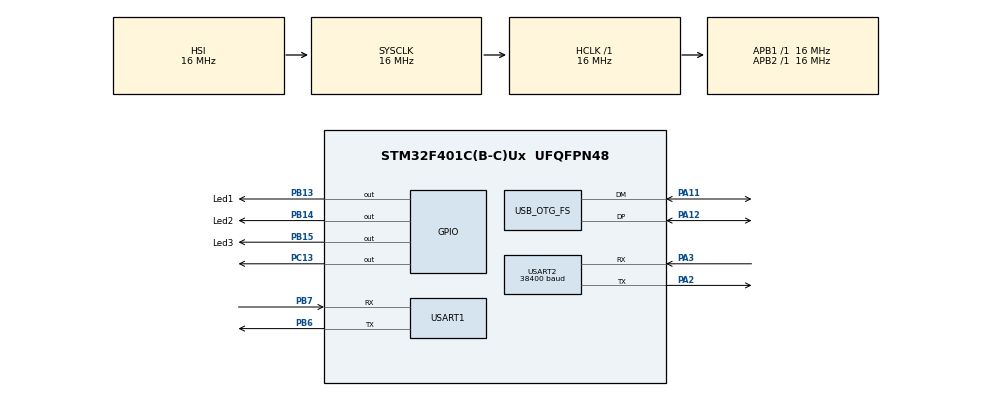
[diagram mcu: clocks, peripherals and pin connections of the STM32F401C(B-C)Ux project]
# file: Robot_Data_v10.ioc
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Mcu.Family=STM32F4
Mcu.Name=STM32F401C(B-C)Ux
Mcu.Package=UFQFPN48
NVIC.OTG_FS_IRQn=true\:0\:0\:false\:false\:true\:false\:true\:true
NVIC.PriorityGroup=NVIC_PRIORITYGROUP_4
NVIC.USART1_IRQn=true\:0\:0\:false\:false\:true\:true\:true\:true
NVIC.USART2_IRQn=true\:0\:0\:false\:false\:true\:true\:true\:true
PA11.Mode=Device_Only
PA11.Signal=USB_OTG_FS_DM
PA12.Mode=Device_Only
PA12.Signal=USB_OTG_FS_DP
PA2.Mode=Asynchronous
PA2.Signal=USART2_TX
PA3.Mode=Asynchronous
PA3.Signal=USART2_RX
PB13.GPIO_Label=Led1
PB13.Signal=GPIO_Output
PB14.GPIO_Label=Led2
PB14.Signal=GPIO_Output
PB15.GPIO_Label=Led3
PB15.Signal=GPIO_Output
PB6.Mode=Asynchronous
PB6.Signal=USART1_TX
PB7.Mode=Asynchronous
PB7.Signal=USART1_RX
PC13-ANTI_TAMP.Signal=GPIO_Output
PH0\ -\ OSC_IN.Mode=HSE-External-Oscillator
PH0\ -\ OSC_IN.Signal=RCC_OSC_IN
PH1\ -\ OSC_OUT.Mode=HSE-External-Oscillator
PH1\ -\ OSC_OUT.Signal=RCC_OSC_OUT
ProjectManager.HeapSize=0x200
ProjectManager.StackSize=0x400
ProjectManager.TargetToolchain=STM32CubeIDE
RCC.48MHZClocksFreq_Value=48000000
RCC.AHBFreq_Value=16000000
RCC.APB1Freq_Value=16000000
RCC.APB2Freq_Value=16000000
RCC.CortexFreq_Value=16000000
RCC.HSE_VALUE=25000000
RCC.HSI_VALUE=16000000
RCC.LSE_VALUE=32768
RCC.PLLM=15
RCC.PLLN=144
RCC.PLLQ=5
RCC.SYSCLKFreq_VALUE=16000000
RCC.VCOOutputFreq_Value=240000000
USART1.VirtualMode=VM_ASYNC
USART2.BaudRate=38400
USART2.VirtualMode=VM_ASYNC
USB_DEVICE.CLASS_NAME_FS=CDC
USB_DEVICE.VirtualMode=Cdc
USB_DEVICE.VirtualModeFS=Cdc_FS
USB_OTG_FS.VirtualMode=Device_Only
VP_USB_DEVICE_VS_USB_DEVICE_CDC_FS.Mode=CDC_FS
board=custom

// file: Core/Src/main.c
/* USER CODE BEGIN Header */
/**
  ******************************************************************************
  * @file           : main.c
  * @brief          : Main program body
  ******************************************************************************
  * @attention
  *
  * Copyright (c) 2026 STMicroelectronics.
  * All rights reserved.
  *
  * This software is licensed under terms that can be found in the LICENSE file
  * in the root directory of this software component.
  * If no LICENSE file comes with this software, it is provided AS-IS.
  *
  ******************************************************************************
  */
/* USER CODE END Header */
#include "main.h"
#include "usb_device.h"

/* USER CODE BEGIN Includes */
#include "usbd_cdc_if.h"
#include "MD49.h"
#include <stdio.h>
#include <string.h>
/* USER CODE END Includes */

/* USER CODE BEGIN PTD */
typedef struct {
    float acc_x, acc_y, acc_z;
    float gyr_x, gyr_y, gyr_z;
    float roll, pitch, yaw;
} MTi1_Data_t;
/* USER CODE END PTD */

UART_HandleTypeDef huart1;
UART_HandleTypeDef huart2;

/* USER CODE BEGIN PV */
extern UART_HandleTypeDef huart2;
extern USBD_HandleTypeDef hUsbDeviceFS;
char msg_usb[300];

char Buffer_rx[64];
uint8_t string_ready = 0;
uint8_t vel_r=128, vel_l=128;

int cnt=0;

uint32_t last_comm_time = 0;
uint32_t test=0;
const uint32_t COMM_TIMEOUT_MS = 2000;

#define RX_RING_SIZE 512
volatile uint8_t rx_ring[RX_RING_SIZE];
volatile uint16_t rx_head = 0;
volatile uint16_t rx_tail = 0;
uint8_t rx_byte;

MTi1_Data_t imu_data;
int test_flag = 0;
uint32_t last_led_tick = 0;

/* USER CODE END PV */

void SystemClock_Config(void);
static void MX_GPIO_Init(void);
static void MX_USART2_UART_Init(void);
static void MX_USART1_UART_Init(void);
/* USER CODE BEGIN PFP */
float bytes_to_float_be(const uint8_t *buffer);
uint8_t xsens_validate_checksum(const uint8_t *msg, uint16_t length);
uint8_t calculate_xbus_checksum(const uint8_t *buffer, uint16_t length);
void parse_mtdata2(const uint8_t *packet, uint16_t packet_len);
void configure_mti1_outputs(void);
void process_rx_ring(void);
/* USER CODE END PFP */

/* USER CODE BEGIN 0 */
//void HAL_UART_RxCpltCallback(UART_HandleTypeDef *huart)
//{
//	if(huart->Instance == USART2)
//	{
//		last_comm_time = HAL_GetTick();
//	}
//}

// Converte 4 bytes Big-Endian para float Little-Endian
float bytes_to_float_be(const uint8_t *buffer) {
    uint32_t b = ((uint32_t)buffer[0] << 24) |
                 ((uint32_t)buffer[1] << 16) |
                 ((uint32_t)buffer[2] << 8)  |
                  (uint32_t)buffer[3];
    float f;
    memcpy(&f, &b, sizeof(float));
    return f;
}

// Valida Checksum Xbus
uint8_t xsens_validate_checksum(const uint8_t *msg, uint16_t length) {
    uint8_t sum = 0;
    for (uint16_t i = 1; i < length; i++) {
        sum += msg[i];
    }
    return (sum == 0);
}

uint8_t calculate_xbus_checksum(const uint8_t *buffer, uint16_t length) {
    uint8_t sum = 0;
    for (uint16_t i = 1; i < (length - 1); i++) {
        sum += buffer[i];
    }
    return (uint8_t)(0x100 - sum);
}

void parse_mtdata2(const uint8_t *packet, uint16_t packet_len) {
    if (packet_len < 5) return;
    if (packet[0] != 0xFA || packet[2] != 0x36) return; // Checa apenas Preamble e MID

    uint8_t payload_len = packet[3];
    uint16_t idx = 4;

    while (idx < (4 + payload_len) && (idx + 3) <= packet_len) {
        uint16_t xdi = (packet[idx] << 8) | packet[idx + 1];
        uint8_t data_size = packet[idx + 2];
        const uint8_t *data_ptr = &packet[idx + 3];

        if ((idx + 3 + data_size) > packet_len) break;

        // Decodificação direta sem filtros adicionais
        if ((xdi & 0xFFF0) == 0x4020) { // ACC
            imu_data.acc_x = bytes_to_float_be(&data_ptr[0]);
            imu_data.acc_y = bytes_to_float_be(&data_ptr[4]);
            imu_data.acc_z = bytes_to_float_be(&data_ptr[8]);
        }
        else if ((xdi & 0xFFF0) == 0x8020) { // GYR
            imu_data.gyr_x = bytes_to_float_be(&data_ptr[0]);
            imu_data.gyr_y = bytes_to_float_be(&data_ptr[4]);
            imu_data.gyr_z = bytes_to_float_be(&data_ptr[8]);
        }
        else if ((xdi & 0xFFF0) == 0x2030) { // EULER
            imu_data.roll  = bytes_to_float_be(&data_ptr[0]);
            imu_data.pitch = bytes_to_float_be(&data_ptr[4]);
            imu_data.yaw   = bytes_to_float_be(&data_ptr[8]);
            test_flag = 1;
        }

        idx += 3 + data_size;
    }
}

// Processa o Ring Buffer identificando início de pacote (0xFA)
void process_rx_ring(void) {
    // Enquanto houver bytes suficientes para formar um pacote mínimo Xbus (5 bytes)
    while (rx_head != rx_tail) {
        // 1. Procura o Preamble 0xFA
        if (rx_ring[rx_tail] != 0xFA) {
            rx_tail = (rx_tail + 1) % RX_RING_SIZE;
            continue;
        }

        // 2. Calcula quantos bytes temos disponíveis no Ring Buffer
        uint16_t available = (rx_head >= rx_tail) ? (rx_head - rx_tail) : (RX_RING_SIZE - rx_tail + rx_head);
        if (available < 5) break; // Espera chegar o cabeçalho completo

        // 3. Lê o tamanho do Payload (byte na posição rx_tail + 3)
        uint16_t len_idx = (rx_tail + 3) % RX_RING_SIZE;
        uint8_t payload_len = rx_ring[len_idx];
        uint16_t total_len = 5 + payload_len; // Preamble(1) + BusID(1) + MID(1) + Len(1) + Payload + CS(1)

        // Se o pacote for maior que o buffer auxiliar, avança 1 byte para não travar
        if (total_len > 256) {
            rx_tail = (rx_tail + 1) % RX_RING_SIZE;
            continue;
        }

        // Aguarda todos os bytes do pacote chegarem
        if (available < total_len) break;

        // 4. Copia o pacote completo para um buffer temporário
        uint8_t packet_buf[256];
        for (uint16_t i = 0; i < total_len; i++) {
            packet_buf[i] = rx_ring[(rx_tail + i) % RX_RING_SIZE];
        }

        // 5. Processa o pacote se for uma mensagem de dados MTData2 (MID = 0x36)
        if (packet_buf[2] == 0x36) {
            parse_mtdata2(packet_buf, total_len);
        }

        // 6. Descarta o pacote processado do Ring Buffer
        rx_tail = (rx_tail + total_len) % RX_RING_SIZE;
    }
}

// Configura saídas do MTi-1
void configure_mti1_outputs(void) {
    uint8_t goto_config[] = {0xFA, 0xFF, 0x30, 0x00, 0x00};
    goto_config[4] = calculate_xbus_checksum(goto_config, sizeof(goto_config));
    HAL_UART_Transmit(&huart1, goto_config, sizeof(goto_config), 200);
    HAL_Delay(100);

    uint8_t set_output_config[] = {
        0xFA, 0xFF, 0xC0, 0x0C,       // Header
        0x40, 0x20, 0x00, 0x64,       // ACC @ 100Hz
        0x80, 0x20, 0x00, 0x64,       // GYR @ 100Hz
        0x20, 0x30, 0x00, 0x64,       // Euler @ 100Hz
        0x00                          // Checksum
    };
    set_output_config[sizeof(set_output_config) - 1] = calculate_xbus_checksum(set_output_config, sizeof(set_output_config));

    HAL_UART_Transmit(&huart1, set_output_config, sizeof(set_output_config), 200);
    HAL_Delay(100);

    uint8_t goto_measurement[] = {0xFA, 0xFF, 0x10, 0x00, 0x00};
    goto_measurement[4] = calculate_xbus_checksum(goto_measurement, sizeof(goto_measurement));
    HAL_UART_Transmit(&huart1, goto_measurement, sizeof(goto_measurement), 200);
    HAL_Delay(100);
}

// Interrupção da UART
void HAL_UART_RxCpltCallback(UART_HandleTypeDef *huart) {
    if (huart->Instance == USART1) {
        uint16_t next = (rx_head + 1) % RX_RING_SIZE;
        if (next != rx_tail) {
            rx_ring[rx_head] = rx_byte;
            rx_head = next;
        }
        HAL_UART_Receive_IT(&huart1, &rx_byte, 1);
    }
}

void HAL_UART_ErrorCallback(UART_HandleTypeDef *huart) {
    if (huart->Instance == USART1) {
        // Limpa os registradores de erro da UART
        __HAL_UART_CLEAR_PEFLAG(huart);
        __HAL_UART_CLEAR_FEFLAG(huart);
        __HAL_UART_CLEAR_NEFLAG(huart);
        __HAL_UART_CLEAR_OREFLAG(huart);

        // Reinicia a recepção por interrupção
        HAL_UART_Receive_IT(&huart1, &rx_byte, 1);
    }
}

void Safety_Check_Communication(void)
{

	if (hUsbDeviceFS.dev_state != USBD_STATE_CONFIGURED) {
		vel_r = 128;
		vel_l = 128;

		MD49_SetSpeedMotors(&huart2, &vel_r, &vel_l);
	}

}

float sanitize_val(float val, float min_limit, float max_limit, float default_val) {
    if (val < min_limit || val > max_limit) {
        return default_val; // Retorna un valor seguro si hay corrupción
    }
    return val;
}
/* USER CODE END 0 */

int main(void)
{

  /* MCU Configuration--------------------------------------------------------*/

  /* Reset of all peripherals, Initializes the Flash interface and the Systick. */
  HAL_Init();

  /* Configure the system clock */
  SystemClock_Config();

  /* Initialize all configured peripherals */
  MX_GPIO_Init();
  MX_USB_DEVICE_Init();
  MX_USART2_UART_Init();
  MX_USART1_UART_Init();
  /* USER CODE BEGIN 2 */

  MD49_ExCmd(&huart2, MD49_CMD_RESET_ENCODERS, NULL, 0, NULL, 0);
  HAL_UART_Receive_IT(&huart1, &rx_byte, 1);
  HAL_Delay(200);

  configure_mti1_outputs();

  /* USER CODE END 2 */

  /* Infinite loop */
  while (1)
  {

    /* USER CODE BEGIN 3 */

	  uint8_t ac, ver, mod, t_err;
	  int temp_r, temp_l;
	  float enc1, enc2, v, i1, i2;

	  process_rx_ring();

	  if (string_ready)
	  {
		  last_comm_time = HAL_GetTick();
		  int n_var = sscanf((char*)&Buffer_rx[1], "%i,%i", &temp_r, &temp_l);
		  memset(Buffer_rx, 0, sizeof(Buffer_rx));
		  string_ready = 0;

		  if (n_var == 2)
		  {
			  vel_r = (uint8_t)temp_r;
			  vel_l = (uint8_t)temp_l;

		  }
		  else
		  {
			  sprintf(msg_usb, "error: n_var read are %d\r\n", n_var);
			  CDC_Transmit_FS((uint8_t*) msg_usb, strlen(msg_usb));
		  }
	  }

	  MD49_GetState(&huart2, &ver, &mod, &v, &i1, &i2, &t_err, &ac);
	  MD49_GetVelocity(&huart2, &enc1, &enc2);

	  Safety_Check_Communication();
	  MD49_SetSpeedMotors(&huart2, &vel_r, &vel_l);

	  /*sprintf(msg_usb, "velocidades %i | %i  - buffer: %s \r\n", vel_r, vel_l, Buffer_rx);
	  sprintf(msg_usb, "V20 cnt:%li || V:%d - I1:%d - I2:%d - err:%d - mod:%d - ac:%d | enc1:%f  enc2:%f | vel1:%d  vel2:%d  \r\n",
	  			  cnt, v, i1, i2, t_err, mod, ac, enc1, enc2, vel1, vel2);*/

	  if (cnt >= 5)
	  {
		  HAL_GPIO_TogglePin(GPIOC, GPIO_PIN_13);
		  HAL_GPIO_TogglePin(GPIOB, Led1_Pin);
		  cnt = 0;
	  }

	  //Transmissão USB controlada (a cada 20ms = 50 Hz)
		static uint32_t last_usb_tick = 0;
		if (HAL_GetTick() - last_usb_tick >= 20) {
			last_usb_tick = HAL_GetTick();

			/*int pos =
					sprintf(msg_usb,
							"E,%f,%f;V,%f;I,%f,%f;S,%d,%d,%d,A,%.4f,%.4f,%.4f,G,%.4f,%.4f,%.4f,O,%.4f,%.4f,%.4f,F,%i\r\n",
							enc1, enc2, v, i1, i2, t_err, mod, ac,
							imu_data.acc_x, imu_data.acc_y, imu_data.acc_z,
							imu_data.gyr_x, imu_data.gyr_y, imu_data.gyr_z,
							imu_data.roll, imu_data.pitch, imu_data.yaw,
							test_flag);*/

			int pos = sprintf(msg_usb,
			    "E,%f,%f;V,%f;I,%f,%f;S,%d,%d,%d,A,%.4f,%.4f,%.4f,G,%.4f,%.4f,%.4f,O,%.4f,%.4f,%.4f,F,%i\r\n",
			    enc1, enc2, v, i1, i2, t_err, mod, ac,
			    // Filtro para acelerómetro (esperado entre -15 y 15 m/s^2)
			    sanitize_val(imu_data.acc_x, -15.0f, 15.0f, 0.0f),
			    sanitize_val(imu_data.acc_y, -15.0f, 15.0f, 0.0f),
			    sanitize_val(imu_data.acc_z, -15.0f, 15.0f, 9.81f),

			    // Filtro para giroscopio (esperado entre -5 y 5 rad/s o deg/s según uses)
			    sanitize_val(imu_data.gyr_x, -5.0f, 5.0f, 0.0f),
			    sanitize_val(imu_data.gyr_y, -5.0f, 5.0f, 0.0f),
			    sanitize_val(imu_data.gyr_z, -5.0f, 5.0f, 0.0f),

			    // Filtro para ángulos de Euler (esperado entre -360 y 360)
			    sanitize_val(imu_data.roll, -360.0f, 360.0f, 0.0f),
			    sanitize_val(imu_data.pitch, -360.0f, 360.0f, 0.0f),
			    sanitize_val(imu_data.yaw, -360.0f, 360.0f, 0.0f),
			    test_flag);

			CDC_Transmit_FS((uint8_t*) msg_usb, pos);
		}

	  //sprintf(msg_usb, "E,%f,%f;V,%f;I,%f,%f;S,%d,%d,%d\r\n", enc1, enc2, v, i1, i2, t_err, mod, ac);
	  //CDC_Transmit_FS((uint8_t*) msg_usb, strlen(msg_usb));
	  HAL_Delay(10);
	  cnt++;

  }
  /* USER CODE END 3 */
}

void SystemClock_Config(void)
{
  RCC_OscInitTypeDef RCC_OscInitStruct = {0};
  RCC_ClkInitTypeDef RCC_ClkInitStruct = {0};

  /** Configure the main internal regulator output voltage
  */
  __HAL_RCC_PWR_CLK_ENABLE();
  __HAL_PWR_VOLTAGESCALING_CONFIG(PWR_REGULATOR_VOLTAGE_SCALE2);

  /** Initializes the RCC Oscillators according to the specified parameters
  * in the RCC_OscInitTypeDef structure.
  */
  RCC_OscInitStruct.OscillatorType = RCC_OSCILLATORTYPE_HSI|RCC_OSCILLATORTYPE_HSE;
  RCC_OscInitStruct.HSEState = RCC_HSE_ON;
  RCC_OscInitStruct.HSIState = RCC_HSI_ON;
  RCC_OscInitStruct.HSICalibrationValue = RCC_HSICALIBRATION_DEFAULT;
  RCC_OscInitStruct.PLL.PLLState = RCC_PLL_ON;
  RCC_OscInitStruct.PLL.PLLSource = RCC_PLLSOURCE_HSE;
  RCC_OscInitStruct.PLL.PLLM = 15;
  RCC_OscInitStruct.PLL.PLLN = 144;
  RCC_OscInitStruct.PLL.PLLP = RCC_PLLP_DIV2;
  RCC_OscInitStruct.PLL.PLLQ = 5;
  if (HAL_RCC_OscConfig(&RCC_OscInitStruct) != HAL_OK)
  {
    Error_Handler();
  }

  /** Initializes the CPU, AHB and APB buses clocks
  */
  RCC_ClkInitStruct.ClockType = RCC_CLOCKTYPE_HCLK|RCC_CLOCKTYPE_SYSCLK
                              |RCC_CLOCKTYPE_PCLK1|RCC_CLOCKTYPE_PCLK2;
  RCC_ClkInitStruct.SYSCLKSource = RCC_SYSCLKSOURCE_HSI;
  RCC_ClkInitStruct.AHBCLKDivider = RCC_SYSCLK_DIV1;
  RCC_ClkInitStruct.APB1CLKDivider = RCC_HCLK_DIV1;
  RCC_ClkInitStruct.APB2CLKDivider = RCC_HCLK_DIV1;

  if (HAL_RCC_ClockConfig(&RCC_ClkInitStruct, FLASH_LATENCY_0) != HAL_OK)
  {
    Error_Handler();
  }
}

static void MX_USART1_UART_Init(void)
{

  huart1.Instance = USART1;
  huart1.Init.BaudRate = 115200;
  huart1.Init.WordLength = UART_WORDLENGTH_8B;
  huart1.Init.StopBits = UART_STOPBITS_1;
  huart1.Init.Parity = UART_PARITY_NONE;
  huart1.Init.Mode = UART_MODE_TX_RX;
  huart1.Init.HwFlowCtl = UART_HWCONTROL_NONE;
  huart1.Init.OverSampling = UART_OVERSAMPLING_16;
  if (HAL_UART_Init(&huart1) != HAL_OK)
  {
    Error_Handler();
  }

}

static void MX_USART2_UART_Init(void)
{

  huart2.Instance = USART2;
  huart2.Init.BaudRate = 38400;
  huart2.Init.WordLength = UART_WORDLENGTH_8B;
  huart2.Init.StopBits = UART_STOPBITS_1;
  huart2.Init.Parity = UART_PARITY_NONE;
  huart2.Init.Mode = UART_MODE_TX_RX;
  huart2.Init.HwFlowCtl = UART_HWCONTROL_NONE;
  huart2.Init.OverSampling = UART_OVERSAMPLING_16;
  if (HAL_UART_Init(&huart2) != HAL_OK)
  {
    Error_Handler();
  }

}

static void MX_GPIO_Init(void)
{
  GPIO_InitTypeDef GPIO_InitStruct = {0};

  /* GPIO Ports Clock Enable */
  __HAL_RCC_GPIOC_CLK_ENABLE();
  __HAL_RCC_GPIOH_CLK_ENABLE();
  __HAL_RCC_GPIOA_CLK_ENABLE();
  __HAL_RCC_GPIOB_CLK_ENABLE();

  /*Configure GPIO pin Output Level */
  HAL_GPIO_WritePin(GPIOC, GPIO_PIN_13, GPIO_PIN_RESET);

  /*Configure GPIO pin Output Level */
  HAL_GPIO_WritePin(GPIOB, Led1_Pin|Led2_Pin|Led3_Pin, GPIO_PIN_RESET);

  /*Configure GPIO pin : PC13 */
  GPIO_InitStruct.Pin = GPIO_PIN_13;
  GPIO_InitStruct.Mode = GPIO_MODE_OUTPUT_PP;
  GPIO_InitStruct.Pull = GPIO_NOPULL;
  GPIO_InitStruct.Speed = GPIO_SPEED_FREQ_LOW;
  HAL_GPIO_Init(GPIOC, &GPIO_InitStruct);

  /*Configure GPIO pins : Led1_Pin Led2_Pin Led3_Pin */
  GPIO_InitStruct.Pin = Led1_Pin|Led2_Pin|Led3_Pin;
  GPIO_InitStruct.Mode = GPIO_MODE_OUTPUT_PP;
  GPIO_InitStruct.Pull = GPIO_NOPULL;
  GPIO_InitStruct.Speed = GPIO_SPEED_FREQ_LOW;
  HAL_GPIO_Init(GPIOB, &GPIO_InitStruct);

}

void Error_Handler(void)
{
  __disable_irq();
  while (1)
  {
  }
}
